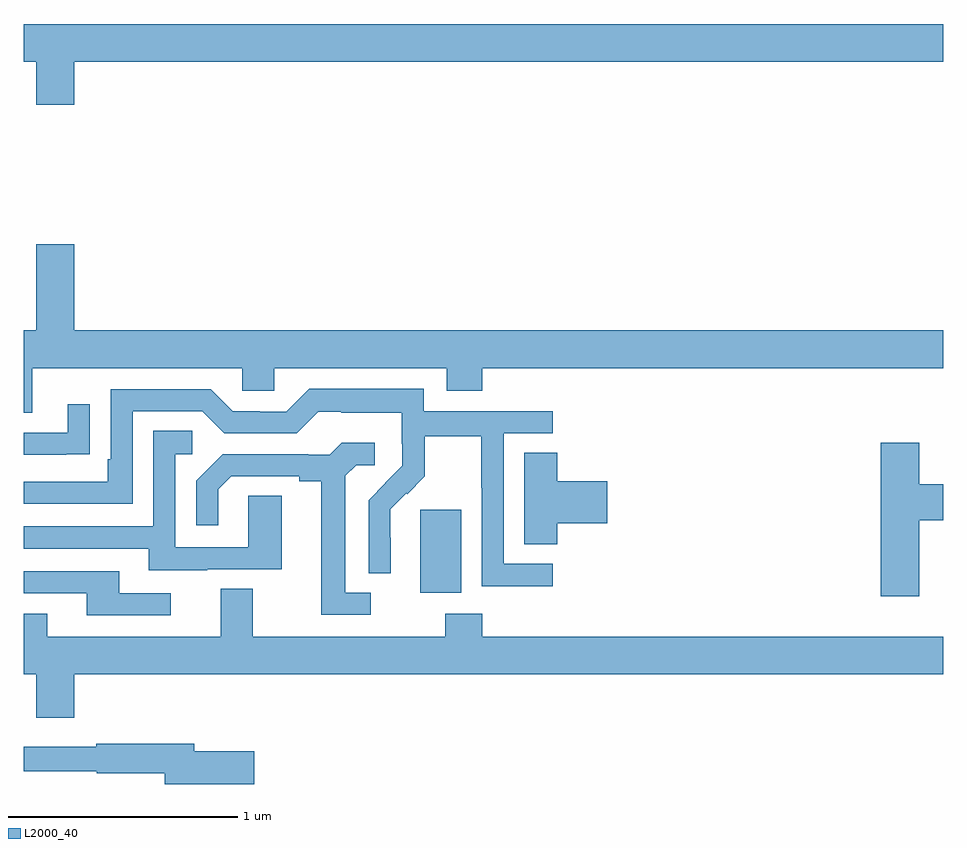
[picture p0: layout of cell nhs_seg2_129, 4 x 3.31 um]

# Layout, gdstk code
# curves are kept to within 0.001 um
import gdstk
lib = gdstk.Library(unit=1e-6, precision=1e-09)
def R(c, l, rs):  # rectangles x0, y0, x1, y1
    for r in rs: c.add(gdstk.rectangle(r[:2], r[2:], *l))
def P(c, l, *ps):  # polygons
    for p in ps: c.add(gdstk.Polygon(p, *l))
L2000_40 = (2000, 40)

nhs_seg2_129 = lib.new_cell('nhs_seg2_129')
R(nhs_seg2_129, L2000_40, [(118.724,606.698,118.903,607.059)])
P(nhs_seg2_129, L2000_40, [(117.22,609.008),(121,609.008),(121,609.172),(117,609.172),(117,609.008),(117.056,609.008),(117.056,608.82),(117.22,608.82)],
  [(117.037,607.676),(117.951,607.676),(117.951,607.578),(118.089,607.578),(118.089,607.676),(118.841,607.676),(118.841,607.577),(118.994,607.577),(118.994,607.676),(121,607.676),(121,607.84),(117.22,607.84),(117.22,608.215),(117.056,608.215),(117.056,607.84),(117,607.84),(117,607.482),(117.037,607.482)],
  [(119.302,606.825),(119.088,606.825),(119.088,607.392),(119.302,607.392),(119.302,607.488),(118.74,607.488),(118.74,607.585),(118.243,607.585),(118.143,607.485),(118.028,607.485),(118.028,607.488),(117.909,607.488),(117.813,607.584),(117.378,607.584),(117.378,607.279),(117.365,607.279),(117.365,607.182),(117,607.182),(117,607.086),(117.474,607.086),(117.474,607.488),(117.777,607.488),(117.873,607.392),(118.188,607.392),(118.281,607.485),(118.381,607.485),(118.381,607.481),(118.644,607.481),(118.644,607.347),(118.646,607.347),(118.646,607.25),(118.5,607.102),(118.5,606.784),(118.596,606.784),(118.595,607.061),(118.665,607.131),(118.668,607.128),(118.745,607.205),(118.745,607.38),(118.99,607.38),(118.99,607.156),(118.992,607.156),(118.992,606.727),(119.302,606.727)],
  [(117.185,607.3),(117.287,607.3),(117.287,607.519),(117.191,607.519),(117.191,607.395),(117,607.395),(117,607.299),(117.185,607.299)],
  [(117.799,606.801),(118.123,606.801),(118.123,607.121),(117.978,607.121),(117.978,606.897),(117.66,606.897),(117.66,607.302),(117.733,607.302),(117.733,607.403),(117.564,607.403),(117.564,606.987),(117,606.987),(117,606.891),(117.545,606.891),(117.545,606.797),(117.799,606.797)],
  [(118.51,606.699),(118.399,606.699),(118.399,607.207),(118.446,607.254),(118.528,607.254),(118.528,607.351),(118.384,607.351),(118.332,607.299),(118.238,607.299),(118.238,607.302),(117.866,607.302),(117.75,607.186),(117.75,606.993),(117.847,606.993),(117.847,607.149),(117.904,607.206),(118.199,607.206),(118.199,607.184),(118.295,607.184),(118.295,606.603),(118.51,606.603)],
  [(120.895,607.013),(121,607.013),(121,607.171),(120.895,607.171),(120.895,607.351),(120.728,607.351),(120.728,606.684),(120.895,606.684)],
  [(119.321,607.001),(119.539,607.001),(119.539,607.184),(119.321,607.184),(119.321,607.307),(119.177,607.307),(119.177,606.91),(119.321,606.91)],
  [(117.64,606.696),(117.415,606.696),(117.415,606.792),(117,606.792),(117,606.696),(117.275,606.696),(117.275,606.6),(117.64,606.6)],
  [(117.22,606.344),(121,606.344),(121,606.508),(118.994,606.508),(118.994,606.607),(118.834,606.607),(118.834,606.508),(117.997,606.508),(117.997,606.716),(117.857,606.716),(117.857,606.508),(117.103,606.508),(117.103,606.607),(117,606.607),(117,606.344),(117.056,606.344),(117.056,606.156),(117.22,606.156)],
  [(118.003,606.009),(117.742,606.009),(117.742,606.043),(117.316,606.043),(117.316,606.03),(117,606.03),(117,605.922),(117.318,605.922),(117.318,605.914),(117.614,605.914),(117.614,605.867),(118.003,605.867)])

lib.write_gds('nhs_seg2_129.gds')
